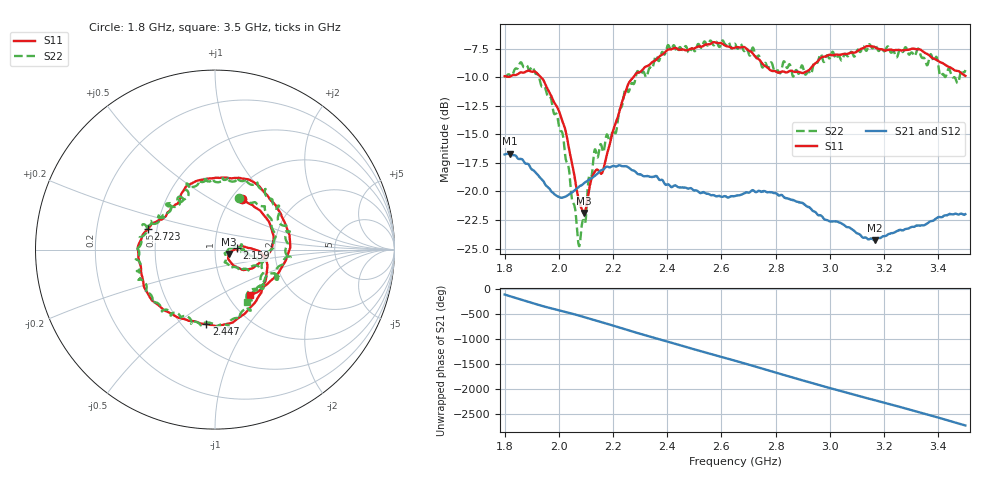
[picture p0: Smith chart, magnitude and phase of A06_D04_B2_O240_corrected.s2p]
! Created with skrf 1.9.0 (http://scikit-rf.org).
# Hz S RI R 50.0
!freq ReS11 ImS11 ReS21 ImS21 ReS12 ImS12 ReS22 ImS22
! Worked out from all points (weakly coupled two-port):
!   1601 points, 1.8 GHz to 3.5 GHz, reference 50 ohm
!   highest |S21| = -16.69 dB at 1.818 GHz (marker M1); lowest = -24.3 dB at 3.165 GHz (marker M2)
!   lowest |S11| = -21.9 dB at 2.093 GHz (marker M3), VSWR 1.18, Z = 58.2 - j2.84 ohm
!   |S11| at or under -10 dB: 1.935 GHz to 2.274 GHz (339.4 MHz wide, 16.1 % of centre)
!   |S22| runs from -24.8 to -6.8 dB; largest |S21 - S12| = 0.0024
!   S11 on the Smith chart (normalised r, x): 1.8 GHz: 1.13, +0.71; 2.159 GHz: 1.27, +0.02; 2.447 GHz: 0.65, -0.65; 2.723 GHz: 0.44, +0.12; 3.5 GHz: 1.26, -0.71
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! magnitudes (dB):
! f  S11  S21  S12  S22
! 1.8 GHz  -9.9  -16.8  -16.7  -9.9
! 1.818 GHz  -9.9  -16.7  -16.7  -9.8
! 1.903 GHz  -9.5  -18.1  -18.1  -9.1
! 1.968 GHz  -11.4  -19.8  -19.9  -11.7
! 2.015 GHz  -13.9  -20.5  -20.5  -15.0
! 2.072 GHz  -20.6  -19.6  -19.7  -24.5
! 2.084 GHz  -21.5  -19.5  -19.4  -23.1
! 2.093 GHz  -21.9  -19.3  -19.3  -22.6
! 2.13 GHz  -18.4  -18.7  -18.7  -16.5
! 2.159 GHz  -18.4  -18.1  -18.0  -16.2
! 2.258 GHz  -10.5  -17.9  -17.9  -11.3
! 2.367 GHz  -8.3  -18.9  -18.8  -8.5
! 2.447 GHz  -7.6  -19.7  -19.6  -7.3
! 2.65 GHz  -7.4  -20.4  -20.4  -7.1
! 2.723 GHz  -8.1  -20.0  -20.0  -7.9
! 2.808 GHz  -9.6  -20.3  -20.2  -9.4
! 2.934 GHz  -9.1  -21.6  -21.6  -9.5
! 3.165 GHz  -7.3  -24.3  -24.2  -7.2
! 3.217 GHz  -7.6  -23.7  -23.7  -7.4
! 3.327 GHz  -7.5  -23.0  -22.9  -7.5
! 3.468 GHz  -9.4  -22.0  -21.9  -10.4
! 3.5 GHz  -9.9  -22.0  -22.0  -9.4
